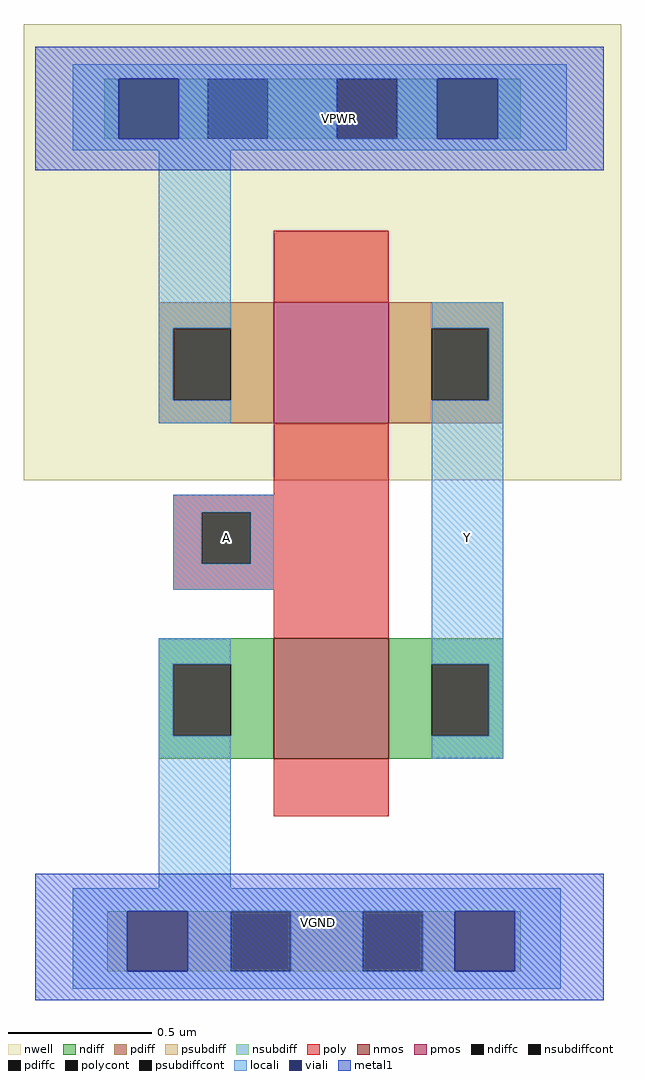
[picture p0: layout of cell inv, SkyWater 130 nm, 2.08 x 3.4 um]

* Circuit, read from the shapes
.subckt inv A Y VPWR VGND
XM1 Y A VGND VGND sky130_fd_pr__nfet_01v8 w=0.42 l=0.4
XM2 Y A VPWR VPWR sky130_fd_pr__pfet_01v8 w=0.42 l=0.4
.ends

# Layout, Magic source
magic
tech sky130A
<< nwell >>
rect -87 -20 121 139
<< nmos >>
rect 0 -117 40 -75
<< pmos >>
rect 0 0 40 42
<< ndiff >>
rect -40 -84 0 -75
rect -40 -109 -35 -84
rect -15 -109 0 -84
rect -40 -117 0 -109
rect 40 -84 80 -75
rect 40 -109 55 -84
rect 75 -109 80 -84
rect 40 -117 80 -109
<< pdiff >>
rect -40 33 0 42
rect -40 8 -35 33
rect -15 8 0 33
rect -40 0 0 8
rect 40 33 80 42
rect 40 8 55 33
rect 75 8 80 33
rect 40 0 80 8
<< ndiffc >>
rect -35 -109 -15 -84
rect 55 -109 75 -84
<< pdiffc >>
rect -35 8 -15 33
rect 55 8 75 33
<< psubdiff >>
rect -58 -191 -15 -170
rect 6 -191 31 -170
rect 52 -191 86 -170
<< nsubdiff >>
rect -59 99 -23 120
rect -2 99 22 120
rect 43 99 86 120
<< psubdiffcont >>
rect -15 -191 6 -170
rect 31 -191 52 -170
<< nsubdiffcont >>
rect -23 99 -2 120
rect 22 99 43 120
<< poly >>
rect 0 42 40 67
rect 0 -25 40 0
rect -35 -31 40 -25
rect -35 -49 -25 -31
rect -8 -49 40 -31
rect -35 -58 40 -49
rect 0 -75 40 -58
rect 0 -137 40 -117
<< polycont >>
rect -25 -49 -8 -31
<< locali >>
rect -70 120 102 125
rect -70 99 -54 120
rect -33 99 22 120
rect 43 99 57 120
rect 78 99 102 120
rect -70 95 102 99
rect -40 33 -15 95
rect -40 8 -35 33
rect -40 0 -15 8
rect 55 33 80 42
rect 75 8 80 33
rect -35 -31 0 -25
rect -35 -49 -25 -31
rect -8 -49 0 -31
rect -35 -58 0 -49
rect -40 -84 -15 -75
rect -40 -109 -35 -84
rect -40 -162 -15 -109
rect 55 -84 80 8
rect 75 -109 80 -84
rect 55 -117 80 -109
rect -70 -170 100 -162
rect -70 -191 -51 -170
rect -30 -191 -15 -170
rect 6 -191 31 -170
rect 52 -191 63 -170
rect 84 -191 100 -170
rect -70 -197 100 -191
<< viali >>
rect -54 99 -33 120
rect 57 99 78 120
rect -51 -191 -30 -170
rect 63 -191 84 -170
<< metal1 >>
rect -83 120 115 131
rect -83 99 -54 120
rect -33 99 57 120
rect 78 99 115 120
rect -83 88 115 99
rect -83 -170 115 -157
rect -83 -191 -51 -170
rect -30 -191 63 -170
rect 84 -191 115 -170
rect -83 -201 115 -191
<< labels >>
flabel locali s -25 -49 -8 -31 0 FreeSans 120 0 0 0 A
port 1 nsew
flabel locali s 55 -50 80 -30 0 FreeSans 120 0 0 0 Y
port 3 nsew
flabel metal1 s -10 98 56 114 0 FreeSans 120 0 0 0 VPWR
port 5 nsew
flabel metal1 s -13 -182 44 -166 0 FreeSans 120 0 0 0 VGND
port 6 nsew
<< end >>
